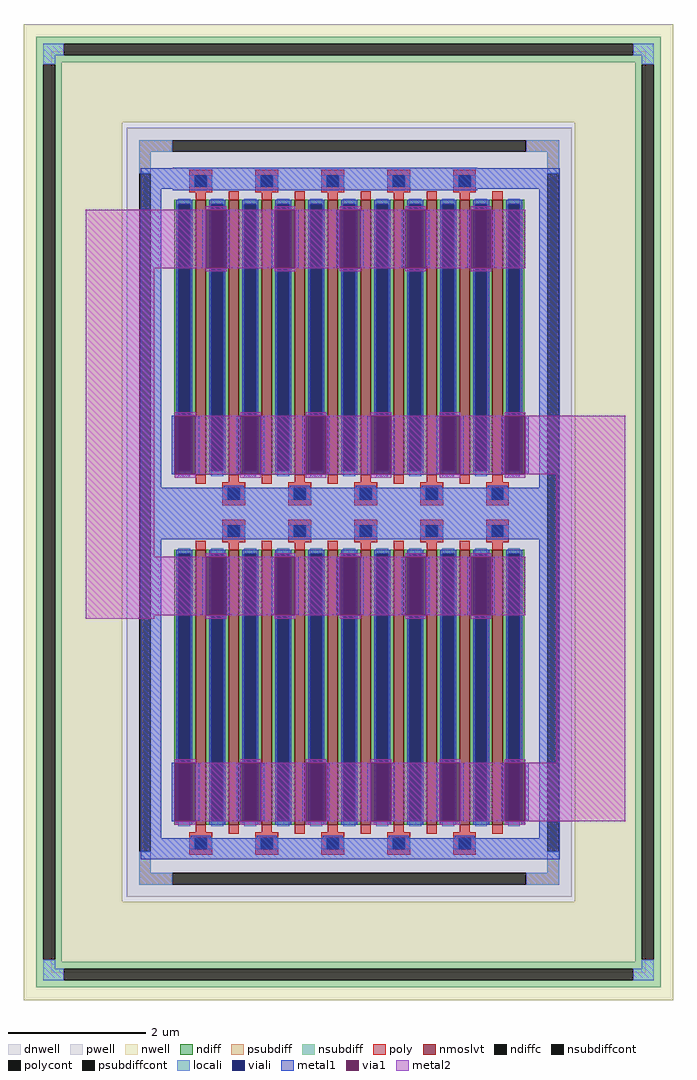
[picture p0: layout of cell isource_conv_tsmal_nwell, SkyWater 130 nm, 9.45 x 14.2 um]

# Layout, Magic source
magic
tech sky130A
magscale 1 2
<< dnwell >>
rect 4150 6290 5880 8970
<< nwell >>
rect 4070 8764 5960 9050
rect 4070 6496 4356 8764
rect 5674 6496 5960 8764
rect 4070 6210 5960 6496
<< nsubdiff >>
rect 4107 8993 5923 9013
rect 4107 8959 4187 8993
rect 5843 8959 5923 8993
rect 4107 8939 5923 8959
rect 4107 8933 4181 8939
rect 4107 6327 4127 8933
rect 4161 6327 4181 8933
rect 4107 6321 4181 6327
rect 5849 8933 5923 8939
rect 5849 6327 5869 8933
rect 5903 6327 5923 8933
rect 5849 6321 5923 6327
rect 4107 6301 5923 6321
rect 4107 6267 4187 6301
rect 5843 6267 5923 6301
rect 4107 6247 5923 6267
<< nsubdiffcont >>
rect 4187 8959 5843 8993
rect 4127 6327 4161 8933
rect 5869 6327 5903 8933
rect 4187 6267 5843 6301
<< locali >>
rect 4127 8959 4187 8993
rect 5843 8959 5903 8993
rect 4127 8933 4161 8959
rect 4127 6301 4161 6327
rect 5869 8933 5903 8959
rect 5869 6301 5903 6327
rect 4127 6267 4187 6301
rect 5843 6267 5903 6301
<< metal1 >>
rect 4504 8630 5390 8632
rect 4410 8570 5630 8630
rect 4410 7700 4470 8570
rect 4504 8566 5390 8570
rect 4590 8340 4600 8510
rect 4660 8340 4670 8510
rect 4790 8340 4800 8510
rect 4860 8340 4870 8510
rect 4980 8340 4990 8510
rect 5050 8340 5060 8510
rect 5170 8340 5180 8510
rect 5240 8340 5250 8510
rect 5360 8340 5370 8510
rect 5430 8340 5440 8510
rect 4500 7740 4510 7910
rect 4570 7740 4580 7910
rect 4690 7740 4700 7910
rect 4760 7740 4770 7910
rect 4880 7740 4890 7910
rect 4950 7740 4960 7910
rect 5070 7740 5080 7910
rect 5140 7740 5150 7910
rect 5270 7740 5280 7910
rect 5340 7740 5350 7910
rect 5460 7740 5470 7910
rect 5530 7740 5540 7910
rect 5570 7700 5630 8570
rect 4410 7550 5630 7700
rect 4410 6680 4470 7550
rect 4590 7330 4600 7500
rect 4660 7330 4670 7500
rect 4790 7330 4800 7500
rect 4860 7330 4870 7500
rect 4980 7330 4990 7500
rect 5050 7330 5060 7500
rect 5170 7330 5180 7500
rect 5240 7330 5250 7500
rect 5360 7330 5370 7500
rect 5430 7330 5440 7500
rect 4500 6730 4510 6900
rect 4570 6730 4580 6900
rect 4690 6730 4700 6900
rect 4760 6730 4770 6900
rect 4880 6730 4890 6900
rect 4950 6730 4960 6900
rect 5070 6730 5080 6900
rect 5140 6730 5150 6900
rect 5270 6730 5280 6900
rect 5340 6730 5350 6900
rect 5460 6730 5470 6900
rect 5530 6730 5540 6900
rect 5570 6680 5630 7550
rect 4410 6620 5630 6680
<< via1 >>
rect 4600 8340 4660 8510
rect 4800 8340 4860 8510
rect 4990 8340 5050 8510
rect 5180 8340 5240 8510
rect 5370 8340 5430 8510
rect 4510 7740 4570 7910
rect 4700 7740 4760 7910
rect 4890 7740 4950 7910
rect 5080 7740 5140 7910
rect 5280 7740 5340 7910
rect 5470 7740 5530 7910
rect 4600 7330 4660 7500
rect 4800 7330 4860 7500
rect 4990 7330 5050 7500
rect 5180 7330 5240 7500
rect 5370 7330 5430 7500
rect 4510 6730 4570 6900
rect 4700 6730 4760 6900
rect 4890 6730 4950 6900
rect 5080 6730 5140 6900
rect 5280 6730 5340 6900
rect 5470 6730 5530 6900
<< metal2 >>
rect 4600 8510 4660 8520
rect 4800 8510 4860 8520
rect 4990 8510 5050 8520
rect 5180 8510 5240 8520
rect 5370 8510 5430 8520
rect 4250 8340 4600 8510
rect 4660 8340 4800 8510
rect 4860 8340 4990 8510
rect 5050 8340 5180 8510
rect 5240 8340 5370 8510
rect 5430 8340 5530 8510
rect 4250 7500 4450 8340
rect 4600 8330 4660 8340
rect 4800 8330 4860 8340
rect 4990 8330 5050 8340
rect 5180 8330 5240 8340
rect 5370 8330 5430 8340
rect 4510 7910 4570 7920
rect 4700 7910 4760 7920
rect 4890 7910 4950 7920
rect 5080 7910 5140 7920
rect 5280 7910 5340 7920
rect 5470 7910 5530 7920
rect 4570 7740 4700 7910
rect 4760 7740 4890 7910
rect 4950 7740 5080 7910
rect 5140 7740 5280 7910
rect 5340 7740 5470 7910
rect 5530 7740 5820 7910
rect 4510 7730 4570 7740
rect 4700 7730 4760 7740
rect 4890 7730 4950 7740
rect 5080 7730 5140 7740
rect 5280 7730 5340 7740
rect 5470 7730 5530 7740
rect 4600 7500 4660 7510
rect 4800 7500 4860 7510
rect 4990 7500 5050 7510
rect 5180 7500 5240 7510
rect 5370 7500 5430 7510
rect 4250 7330 4600 7500
rect 4660 7330 4800 7500
rect 4860 7330 4990 7500
rect 5050 7330 5180 7500
rect 5240 7330 5370 7500
rect 5430 7330 5530 7500
rect 4250 7320 4450 7330
rect 4600 7320 4660 7330
rect 4800 7320 4860 7330
rect 4990 7320 5050 7330
rect 5180 7320 5240 7330
rect 5370 7320 5430 7330
rect 4510 6900 4570 6910
rect 4700 6900 4760 6910
rect 4890 6900 4950 6910
rect 5080 6900 5140 6910
rect 5280 6900 5340 6910
rect 5470 6900 5530 6910
rect 5620 6900 5820 7740
rect 4570 6730 4700 6900
rect 4760 6730 4890 6900
rect 4950 6730 5080 6900
rect 5140 6730 5280 6900
rect 5340 6730 5470 6900
rect 5530 6730 5820 6900
rect 4510 6720 4570 6730
rect 4700 6720 4760 6730
rect 4890 6720 4950 6730
rect 5080 6720 5140 6730
rect 5280 6720 5340 6730
rect 5470 6720 5530 6730
use sky130_fd_pr__nfet_01v8_lvt_26RGPZ  sky130_fd_pr__nfet_01v8_lvt_26RGPZ_0
transform 1 0 5017 0 1 7629
box -647 -1119 647 1119
<< end >>

# cell sky130_fd_pr__nfet_01v8_lvt_26RGPZ: kit device sky130_fd_pr__nfet_01v8_lvt, w 4 l 0.150 m 2 nf 10 diffcov 100 polycov 100 guard 1 glc 1 grc 1 gtc 1 gbc 1 tbcov 100 rlcov 100 topc 1 botc 1 poverlap 0 doverlap 1 lmin 0.15 wmin 0.42 compatible {sky130_fd_pr__nfet_01v8 sky130_fd_pr__nfet_01v8_lvt sky130_fd_bs_flash__special_sonosfet_star sky130_fd_pr__nfet_g5v0d10v5 sky130_fd_pr__nfet_05v0_nvt sky130_fd_pr__nfet_03v3_nvt} full_metal 1 viasrc 100 viadrn 100 viagate 100 viagb 0 viagr 0 viagl 0 viagt 0
